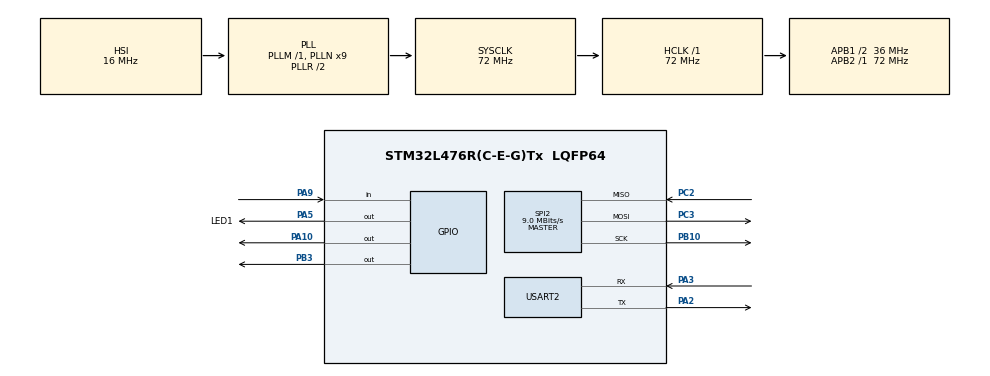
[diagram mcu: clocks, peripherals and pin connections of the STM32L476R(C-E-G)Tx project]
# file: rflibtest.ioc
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Mcu.Family=STM32L4
Mcu.Name=STM32L476R(C-E-G)Tx
Mcu.Package=LQFP64
NVIC.PriorityGroup=NVIC_PRIORITYGROUP_4
PA10.Signal=GPIO_Output
PA13\ (JTMS-SWDIO).Mode=Serial_Wire
PA13\ (JTMS-SWDIO).Signal=SYS_JTMS-SWDIO
PA14\ (JTCK-SWCLK).Mode=Serial_Wire
PA14\ (JTCK-SWCLK).Signal=SYS_JTCK-SWCLK
PA2.Mode=Asynchronous
PA2.Signal=USART2_TX
PA3.Mode=Asynchronous
PA3.Signal=USART2_RX
PA5.GPIO_Label=LED1
PA5.Signal=GPIO_Output
PA9.GPIO_PuPd=GPIO_PULLUP
PA9.Signal=GPIO_Input
PB10.Mode=Full_Duplex_Master
PB10.Signal=SPI2_SCK
PB3\ (JTDO-TRACESWO).Signal=GPIO_Output
PC2.Mode=Full_Duplex_Master
PC2.Signal=SPI2_MISO
PC3.Mode=Full_Duplex_Master
PC3.Signal=SPI2_MOSI
ProjectManager.HeapSize=0x200
ProjectManager.StackSize=0x400
ProjectManager.TargetToolchain=STM32CubeIDE
RCC.ADCFreq_Value=64000000
RCC.AHBFreq_Value=72000000
RCC.APB1CLKDivider=RCC_HCLK_DIV2
RCC.APB1Freq_Value=36000000
RCC.APB1TimFreq_Value=72000000
RCC.APB2Freq_Value=72000000
RCC.APB2TimFreq_Value=72000000
RCC.CortexFreq_Value=72000000
RCC.HCLKFreq_Value=72000000
RCC.HSE_VALUE=8000000
RCC.HSI_VALUE=16000000
RCC.LSE_VALUE=32768
RCC.MSI_VALUE=4000000
RCC.PLLN=9
RCC.PLLSourceVirtual=RCC_PLLSOURCE_HSI
RCC.PREFETCH_ENABLE=1
RCC.SYSCLKFreq_VALUE=72000000
RCC.SYSCLKSource=RCC_SYSCLKSOURCE_PLLCLK
RCC.USBFreq_Value=64000000
RCC.VCOOutputFreq_Value=144000000
SPI2.BaudRatePrescaler=SPI_BAUDRATEPRESCALER_4
SPI2.CalculateBaudRate=9.0 MBits/s
SPI2.DataSize=SPI_DATASIZE_8BIT
SPI2.Direction=SPI_DIRECTION_2LINES
SPI2.Mode=SPI_MODE_MASTER
SPI2.VirtualType=VM_MASTER
USART2.VirtualMode-Asynchronous=VM_ASYNC
board=NUCLEO-L476RG

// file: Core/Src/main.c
/* USER CODE BEGIN Header */
/**
  ******************************************************************************
  * @file           : main.c
  * @brief          : Main program body
  ******************************************************************************
  * @attention
  *
  * Copyright (c) 2023 STMicroelectronics.
  * All rights reserved.
  *
  * This software is licensed under terms that can be found in the LICENSE file
  * in the root directory of this software component.
  * If no LICENSE file comes with this software, it is provided AS-IS.
  *
  ******************************************************************************
  */
/* USER CODE END Header */
#include "main.h"
#include "spi.h"
#include "usart.h"
#include "gpio.h"

/* USER CODE BEGIN Includes */
#include "RFM69.h"
#include "RFM69_ext.h"
/* USER CODE END Includes */

/* USER CODE BEGIN PV */
int16_t rssi;
char log_buffer[150];
uint16_t networkID = 210; // a.k.a. Network Group
uint8_t nodeID = 1;
uint16_t freqBand = 433;
  /* available frequency bands
  #define RF69_315MHZ            315
  #define RF69_433MHZ            433
  #define RF69_868MHZ            868
  #define RF69_915MHZ            915
  see registers.h for even more.
  */
uint8_t toAddress = 2;
bool requestACK = false;

typedef struct {
  unsigned long nodeId; //store this nodeId
  unsigned long uptime; //uptime in ms
  long rssi;
     //temperature maybe?
} Payload;
Payload theData;
/* USER CODE END PV */

void SystemClock_Config(void);

int main(void)
{

  /* MCU Configuration--------------------------------------------------------*/

  /* Reset of all peripherals, Initializes the Flash interface and the Systick. */
  HAL_Init();

  /* Configure the system clock */
  SystemClock_Config();

  /* Initialize all configured peripherals */
  MX_GPIO_Init();
  MX_SPI2_Init();
  MX_USART2_UART_Init();
  /* USER CODE BEGIN 2 */
  HAL_Delay(10);
  //noInterrupts();
  RFM69_RST();
  HAL_Delay(10);
  if (RFM69_initialize(freqBand, nodeID, networkID)) {
    sprintf(log_buffer, "RFM69 Initialized. Freq %dMHz. Node %d. Group %d.\r\n", freqBand, nodeID, networkID);
    debug_printf(log_buffer);
  }
  else {
    debug_printf("RFM69 not connected.\r\n");
  }
  RFM69_readAllRegs();

  debug_printf("Starting up \n\r");
  /* USER CODE END 2 */

  /* Infinite loop */
  /* USER CODE BEGIN WHILE */
  while (1)
  {
	  // SAMPLE RECEIVE CODE

	  RFM69_setMode(RF69_MODE_RX);
	        if (RFM69_ReadDIO0Pin()){
	        debug_printf("Checking\r\n");

	          HAL_GPIO_WritePin(GPIOA, GPIO_PIN_5, 1); // turn on LED
	          RFM69_interruptHandler();
	          HAL_GPIO_WritePin(GPIOA, GPIO_PIN_5, 0);

	        }
	        if (RFM69_receiveDone()) {
	          debug_printf("Payload Received!\r\n");
	          //PrintRawBytes();
	          PrintStruct();

	          //PrintByteByByte();
	          HAL_GPIO_WritePin(GPIOA, GPIO_PIN_5, 0); // turn off LED
	        }

	        // SAMPLE TRANSMIT CODE
	        theData.nodeId = nodeID;
	        theData.uptime = HAL_GetTick();
	        theData.rssi = rssi;
	        RFM69_sendWithRetry(toAddress, (const void *)(&theData), sizeof(theData), 2, 20);
	        HAL_GPIO_WritePin(GPIOA, GPIO_PIN_5, 1); // turn on LED
	        HAL_Delay(1);
	        HAL_GPIO_WritePin(GPIOA, GPIO_PIN_5, 0); // turn off LED
	        HAL_Delay(500);                         // send every ____ milliseconds.
	        debug_printf("Payload Sent!\r\n");

    /* USER CODE END WHILE */

  }
}

void SystemClock_Config(void)
{
  RCC_OscInitTypeDef RCC_OscInitStruct = {0};
  RCC_ClkInitTypeDef RCC_ClkInitStruct = {0};

  /** Configure the main internal regulator output voltage
  */
  if (HAL_PWREx_ControlVoltageScaling(PWR_REGULATOR_VOLTAGE_SCALE1) != HAL_OK)
  {
    Error_Handler();
  }

  /** Initializes the RCC Oscillators according to the specified parameters
  * in the RCC_OscInitTypeDef structure.
  */
  RCC_OscInitStruct.OscillatorType = RCC_OSCILLATORTYPE_HSI;
  RCC_OscInitStruct.HSIState = RCC_HSI_ON;
  RCC_OscInitStruct.HSICalibrationValue = RCC_HSICALIBRATION_DEFAULT;
  RCC_OscInitStruct.PLL.PLLState = RCC_PLL_ON;
  RCC_OscInitStruct.PLL.PLLSource = RCC_PLLSOURCE_HSI;
  RCC_OscInitStruct.PLL.PLLM = 1;
  RCC_OscInitStruct.PLL.PLLN = 9;
  RCC_OscInitStruct.PLL.PLLP = RCC_PLLP_DIV7;
  RCC_OscInitStruct.PLL.PLLQ = RCC_PLLQ_DIV2;
  RCC_OscInitStruct.PLL.PLLR = RCC_PLLR_DIV2;
  if (HAL_RCC_OscConfig(&RCC_OscInitStruct) != HAL_OK)
  {
    Error_Handler();
  }

  /** Initializes the CPU, AHB and APB buses clocks
  */
  RCC_ClkInitStruct.ClockType = RCC_CLOCKTYPE_HCLK|RCC_CLOCKTYPE_SYSCLK
                              |RCC_CLOCKTYPE_PCLK1|RCC_CLOCKTYPE_PCLK2;
  RCC_ClkInitStruct.SYSCLKSource = RCC_SYSCLKSOURCE_PLLCLK;
  RCC_ClkInitStruct.AHBCLKDivider = RCC_SYSCLK_DIV1;
  RCC_ClkInitStruct.APB1CLKDivider = RCC_HCLK_DIV2;
  RCC_ClkInitStruct.APB2CLKDivider = RCC_HCLK_DIV1;

  if (HAL_RCC_ClockConfig(&RCC_ClkInitStruct, FLASH_LATENCY_4) != HAL_OK)
  {
    Error_Handler();
  }
}

void Error_Handler(void)
{
  __disable_irq();
  while (1)
  {
  }
}
